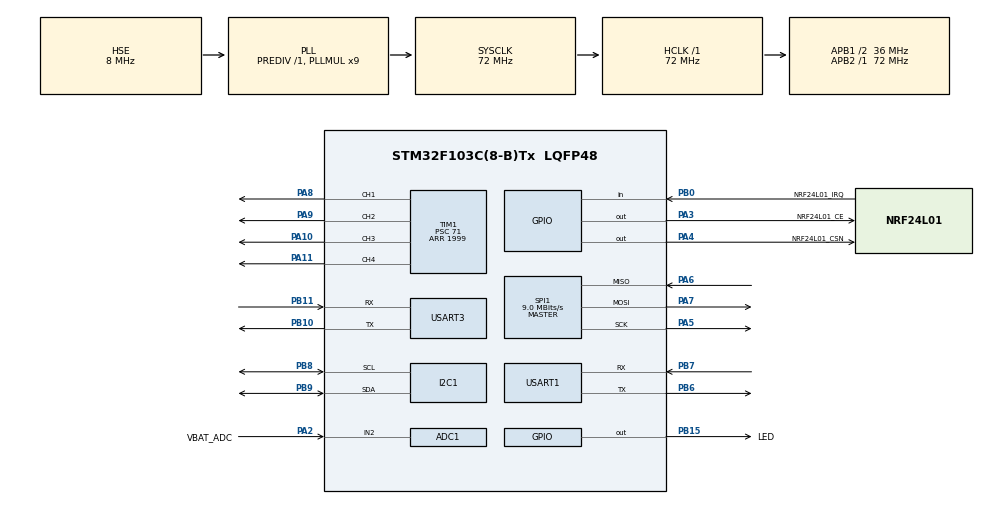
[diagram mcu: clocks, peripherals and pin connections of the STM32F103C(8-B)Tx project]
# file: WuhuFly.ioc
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ADC1.Channel-0\#ChannelRegularConversion=ADC_CHANNEL_2
ADC1.NbrOfConversionFlag=1
ADC1.Rank-0\#ChannelRegularConversion=1
ADC1.SamplingTime-0\#ChannelRegularConversion=ADC_SAMPLETIME_1CYCLE_5
ADC1.master=1
FREERTOS.Tasks01=defaultTask,24,128,StartDefaultTask,Default,NULL,Dynamic,NULL,NULL;myTask02,8,128,StartTask02,Default,NULL,Dynamic,NULL,NULL;myTask03,8,128,StartTask03,Default,NULL,Dynamic,NULL,NULL;myTask04,8,128,StartTask04,Default,NULL,Dynamic,NULL,NULL
Mcu.Family=STM32F1
Mcu.Name=STM32F103C(8-B)Tx
Mcu.Package=LQFP48
NVIC.PriorityGroup=NVIC_PRIORITYGROUP_4
NVIC.TIM2_IRQn=true\:10\:0\:true\:false\:true\:true\:true\:true
NVIC.TIM4_IRQn=true\:0\:0\:false\:false\:true\:false\:false\:true
NVIC.TimeBase=TIM4_IRQn
NVIC.TimeBaseIP=TIM4
PA10.Signal=S_TIM1_CH3
PA11.Signal=S_TIM1_CH4
PA13.Mode=Serial_Wire
PA13.Signal=SYS_JTMS-SWDIO
PA14.Mode=Serial_Wire
PA14.Signal=SYS_JTCK-SWCLK
PA2.GPIO_Label=VBAT_ADC
PA2.Signal=ADCx_IN2
PA3.GPIO_Label=NRF24L01_CE
PA3.GPIO_PuPd=GPIO_PULLUP
PA3.GPIO_Speed=GPIO_SPEED_FREQ_HIGH
PA3.Signal=GPIO_Output
PA4.GPIO_Label=NRF24L01_CSN
PA4.GPIO_PuPd=GPIO_PULLUP
PA4.GPIO_Speed=GPIO_SPEED_FREQ_HIGH
PA4.PinState=GPIO_PIN_SET
PA4.Signal=GPIO_Output
PA5.Mode=Full_Duplex_Master
PA5.Signal=SPI1_SCK
PA6.Mode=Full_Duplex_Master
PA6.Signal=SPI1_MISO
PA7.Mode=Full_Duplex_Master
PA7.Signal=SPI1_MOSI
PA8.Signal=S_TIM1_CH1
PA9.Signal=S_TIM1_CH2
PB0.GPIO_Label=NRF24L01_IRQ
PB0.GPIO_PuPd=GPIO_PULLUP
PB0.Signal=GPIO_Input
PB10.Mode=Asynchronous
PB10.Signal=USART3_TX
PB11.Mode=Asynchronous
PB11.Signal=USART3_RX
PB15.GPIO_Label=LED
PB15.Signal=GPIO_Output
PB6.Mode=Asynchronous
PB6.Signal=USART1_TX
PB7.Mode=Asynchronous
PB7.Signal=USART1_RX
PB8.Mode=I2C
PB8.Signal=I2C1_SCL
PB9.Mode=I2C
PB9.Signal=I2C1_SDA
PD0-OSC_IN.Mode=HSE-External-Oscillator
PD0-OSC_IN.Signal=RCC_OSC_IN
PD1-OSC_OUT.Mode=HSE-External-Oscillator
PD1-OSC_OUT.Signal=RCC_OSC_OUT
ProjectManager.HeapSize=0x200
ProjectManager.StackSize=0x400
ProjectManager.TargetToolchain=SW4STM32
RCC.ADCPresc=RCC_ADCPCLK2_DIV6
RCC.AHBFreq_Value=72000000
RCC.APB1CLKDivider=RCC_HCLK_DIV2
RCC.APB1Freq_Value=36000000
RCC.APB1TimFreq_Value=72000000
RCC.APB2Freq_Value=72000000
RCC.APB2TimFreq_Value=72000000
RCC.HCLKFreq_Value=72000000
RCC.PLLMUL=RCC_PLL_MUL9
RCC.PLLSourceVirtual=RCC_PLLSOURCE_HSE
RCC.SYSCLKFreq_VALUE=72000000
RCC.SYSCLKSource=RCC_SYSCLKSOURCE_PLLCLK
RCC.USBFreq_Value=72000000
SH.ADCx_IN2.0=ADC1_IN2,IN2
SH.S_TIM1_CH1.0=TIM1_CH1,PWM Generation1 CH1
SH.S_TIM1_CH2.0=TIM1_CH2,PWM Generation2 CH2
SH.S_TIM1_CH3.0=TIM1_CH3,PWM Generation3 CH3
SH.S_TIM1_CH4.0=TIM1_CH4,PWM Generation4 CH4
SPI1.BaudRatePrescaler=SPI_BAUDRATEPRESCALER_8
SPI1.CLKPhase=SPI_PHASE_1EDGE
SPI1.CLKPolarity=SPI_POLARITY_LOW
SPI1.CalculateBaudRate=9.0 MBits/s
SPI1.Direction=SPI_DIRECTION_2LINES
SPI1.Mode=SPI_MODE_MASTER
SPI1.VirtualType=VM_MASTER
TIM1.Channel-PWM\ Generation1\ CH1=TIM_CHANNEL_1
TIM1.Channel-PWM\ Generation2\ CH2=TIM_CHANNEL_2
TIM1.Channel-PWM\ Generation3\ CH3=TIM_CHANNEL_3
TIM1.Channel-PWM\ Generation4\ CH4=TIM_CHANNEL_4
TIM1.Period=1999
TIM1.Prescaler=71
TIM1.Pulse-PWM\ Generation1\ CH1=100
TIM1.Pulse-PWM\ Generation2\ CH2=100
TIM1.Pulse-PWM\ Generation3\ CH3=100
TIM1.Pulse-PWM\ Generation4\ CH4=100
TIM2.AutoReloadPreload=TIM_AUTORELOAD_PRELOAD_ENABLE
TIM2.Period=4999
TIM2.Prescaler=7199
USART1.VirtualMode=VM_ASYNC
USART3.VirtualMode=VM_ASYNC
VP_FREERTOS_VS_CMSIS_V2.Mode=CMSIS_V2
VP_SYS_VS_tim4.Mode=TIM4
VP_TIM1_VS_ClockSourceINT.Mode=Internal
VP_TIM2_VS_ClockSourceINT.Mode=Internal
board=custom

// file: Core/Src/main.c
/* USER CODE BEGIN Header */
/**
  ******************************************************************************
  * @file           : main.c
  * @brief          : Main program body
  ******************************************************************************
  * @attention
  *
  * <h2><center>&copy; Copyright (c) 2020 STMicroelectronics.
  * All rights reserved.</center></h2>
  *
  * This software component is licensed by ST under BSD 3-Clause license,
  * the "License"; You may not use this file except in compliance with the
  * License. You may obtain a copy of the License at:
  *                        opensource.org/licenses/BSD-3-Clause
  *
  ******************************************************************************
  */
/* USER CODE END Header */
#include "main.h"
#include "cmsis_os.h"
#include "adc.h"
#include "i2c.h"
#include "spi.h"
#include "tim.h"
#include "usart.h"
#include "gpio.h"

/* USER CODE BEGIN Includes */
#include <retarget.h>
#include <stdio.h>
#include "BMP280.h"
#include "NRF24L01.h"
#include "JY901.h"
/* USER CODE END Includes */

/* USER CODE BEGIN PV */
uint8_t tx_buf[TX_PLOAD_WIDTH];
/* USER CODE END PV */

void SystemClock_Config(void);
void MX_FREERTOS_Init(void);

int main(void)
{
  /* USER CODE BEGIN 1 */
    float temp;
    float press;
  /* USER CODE END 1 */

  /* MCU Configuration--------------------------------------------------------*/

  /* Reset of all peripherals, Initializes the Flash interface and the Systick. */
  HAL_Init();

  /* Configure the system clock */
  SystemClock_Config();

  /* Initialize all configured peripherals */
  MX_GPIO_Init();
  MX_I2C1_Init();
  MX_USART1_UART_Init();
  MX_SPI1_Init();
  MX_USART3_UART_Init();
  MX_ADC1_Init();
  MX_TIM1_Init();
  MX_TIM2_Init();
  /* USER CODE BEGIN 2 */
    RetargetInit(&huart1);

//    bmp280_init();

    if(NRF24L01_Check()) {
        printf("NRF24L01 Error\r\n");
        HAL_Delay(200);
    }
    else{
        printf("NRF24L01 OK\r\n");
    }

    HAL_TIM_Base_Start_IT(&htim2);

    HAL_TIM_PWM_Start(&htim1, TIM_CHANNEL_1);
    HAL_TIM_PWM_Start(&htim1, TIM_CHANNEL_2);
    HAL_TIM_PWM_Start(&htim1, TIM_CHANNEL_3);
    HAL_TIM_PWM_Start(&htim1, TIM_CHANNEL_4);
  /* USER CODE END 2 */

  /* Init scheduler */
  osKernelInitialize();  /* Call init function for freertos objects (in freertos.c) */
  MX_FREERTOS_Init();
  /* Start scheduler */
  osKernelStart();

  /* We should never get here as control is now taken by the scheduler */
  /* Infinite loop */
  /* USER CODE BEGIN WHILE */
  while (1)
  {
      HAL_Delay(500);
      printf("-----------Sensor BMP280-----------\r\n");
//      temp = readTemperature();
//      press = readPressure();
      printf("T=%.3f C, P=%.2f hPa\r\n",temp,press/100);

      printf("-----------Sensor JY901S-----------\r\n");
      readJY901();
      calculateJY901();
      printf("AX:%.3f AY:%.3f AZ:%.3f\r\n",ax,ay,az);
      printf("WX:%.3f WY:%.3f WZ:%.3f\r\n",wx,wy,wz);
      printf("Roll:%.3f Pitch:%.3f Yaw:%.3f\r\n",roll,pitch,yaw);
      printf("Q0:%.3f Q1:%.3f Q2:%.3f Q3:%.3f\r\n",Q0,Q1,Q2,Q3);

      NRF24L01_TX_Mode();
      tx_buf[0] = (int)temp;
      if(NRF24L01_TxPacket(tx_buf) != TX_OK)
      {
          printf("Tx Error\r\n");
//          HAL_Delay(1);
      }

    /* USER CODE END WHILE */

  }
}

void SystemClock_Config(void)
{
  RCC_OscInitTypeDef RCC_OscInitStruct = {0};
  RCC_ClkInitTypeDef RCC_ClkInitStruct = {0};
  RCC_PeriphCLKInitTypeDef PeriphClkInit = {0};

  /** Initializes the RCC Oscillators according to the specified parameters
  * in the RCC_OscInitTypeDef structure.
  */
  RCC_OscInitStruct.OscillatorType = RCC_OSCILLATORTYPE_HSE;
  RCC_OscInitStruct.HSEState = RCC_HSE_ON;
  RCC_OscInitStruct.HSEPredivValue = RCC_HSE_PREDIV_DIV1;
  RCC_OscInitStruct.HSIState = RCC_HSI_ON;
  RCC_OscInitStruct.PLL.PLLState = RCC_PLL_ON;
  RCC_OscInitStruct.PLL.PLLSource = RCC_PLLSOURCE_HSE;
  RCC_OscInitStruct.PLL.PLLMUL = RCC_PLL_MUL9;
  if (HAL_RCC_OscConfig(&RCC_OscInitStruct) != HAL_OK)
  {
    Error_Handler();
  }
  /** Initializes the CPU, AHB and APB buses clocks
  */
  RCC_ClkInitStruct.ClockType = RCC_CLOCKTYPE_HCLK|RCC_CLOCKTYPE_SYSCLK
                              |RCC_CLOCKTYPE_PCLK1|RCC_CLOCKTYPE_PCLK2;
  RCC_ClkInitStruct.SYSCLKSource = RCC_SYSCLKSOURCE_PLLCLK;
  RCC_ClkInitStruct.AHBCLKDivider = RCC_SYSCLK_DIV1;
  RCC_ClkInitStruct.APB1CLKDivider = RCC_HCLK_DIV2;
  RCC_ClkInitStruct.APB2CLKDivider = RCC_HCLK_DIV1;

  if (HAL_RCC_ClockConfig(&RCC_ClkInitStruct, FLASH_LATENCY_2) != HAL_OK)
  {
    Error_Handler();
  }
  PeriphClkInit.PeriphClockSelection = RCC_PERIPHCLK_ADC;
  PeriphClkInit.AdcClockSelection = RCC_ADCPCLK2_DIV6;
  if (HAL_RCCEx_PeriphCLKConfig(&PeriphClkInit) != HAL_OK)
  {
    Error_Handler();
  }
}

 /**
  * @brief  Period elapsed callback in non blocking mode
  * @note   This function is called  when TIM4 interrupt took place, inside
  * HAL_TIM_IRQHandler(). It makes a direct call to HAL_IncTick() to increment
  * a global variable "uwTick" used as application time base.
  * @param  htim : TIM handle
  * @retval None
  */
void HAL_TIM_PeriodElapsedCallback(TIM_HandleTypeDef *htim)
{
  if (htim->Instance == TIM4) {
    HAL_IncTick();
  }
}

void Error_Handler(void)
{
}

/************************ (C) COPYRIGHT STMicroelectronics *****END OF FILE****/

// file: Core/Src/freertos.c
/* USER CODE BEGIN Header */
/**
  ******************************************************************************
  * File Name          : freertos.c
  * Description        : Code for freertos applications
  ******************************************************************************
  * @attention
  *
  * <h2><center>&copy; Copyright (c) 2020 STMicroelectronics.
  * All rights reserved.</center></h2>
  *
  * This software component is licensed by ST under Ultimate Liberty license
  * SLA0044, the "License"; You may not use this file except in compliance with
  * the License. You may obtain a copy of the License at:
  *                             www.st.com/SLA0044
  *
  ******************************************************************************
  */
/* USER CODE END Header */

#include "FreeRTOS.h"
#include "task.h"
#include "main.h"
#include "cmsis_os.h"

/* Definitions for defaultTask */
osThreadId_t defaultTaskHandle;
const osThreadAttr_t defaultTask_attributes = {
  .name = "defaultTask",
  .priority = (osPriority_t) osPriorityNormal,
  .stack_size = 128 * 4
};
/* Definitions for myTask02 */
osThreadId_t myTask02Handle;
const osThreadAttr_t myTask02_attributes = {
  .name = "myTask02",
  .priority = (osPriority_t) osPriorityLow,
  .stack_size = 128 * 4
};
/* Definitions for myTask03 */
osThreadId_t myTask03Handle;
const osThreadAttr_t myTask03_attributes = {
  .name = "myTask03",
  .priority = (osPriority_t) osPriorityLow,
  .stack_size = 128 * 4
};
/* Definitions for myTask04 */
osThreadId_t myTask04Handle;
const osThreadAttr_t myTask04_attributes = {
  .name = "myTask04",
  .priority = (osPriority_t) osPriorityLow,
  .stack_size = 128 * 4
};

void StartDefaultTask(void *argument);
void StartTask02(void *argument);
void StartTask03(void *argument);
void StartTask04(void *argument);

void MX_FREERTOS_Init(void); /* (MISRA C 2004 rule 8.1) */

void MX_FREERTOS_Init(void) {

  /* Create the thread(s) */
  /* creation of defaultTask */
  defaultTaskHandle = osThreadNew(StartDefaultTask, NULL, &defaultTask_attributes);

  /* creation of myTask02 */
  myTask02Handle = osThreadNew(StartTask02, NULL, &myTask02_attributes);

  /* creation of myTask03 */
  myTask03Handle = osThreadNew(StartTask03, NULL, &myTask03_attributes);

  /* creation of myTask04 */
  myTask04Handle = osThreadNew(StartTask04, NULL, &myTask04_attributes);

}

void StartDefaultTask(void *argument)
{
  for(;;)
  {
    osDelay(1);
  }
}

void StartTask02(void *argument)
{
  for(;;)
  {
    osDelay(1);
  }
}

void StartTask03(void *argument)
{
  for(;;)
  {
    osDelay(1);
  }
}

void StartTask04(void *argument)
{
  for(;;)
  {
    osDelay(1);
  }
}

/************************ (C) COPYRIGHT STMicroelectronics *****END OF FILE****/
